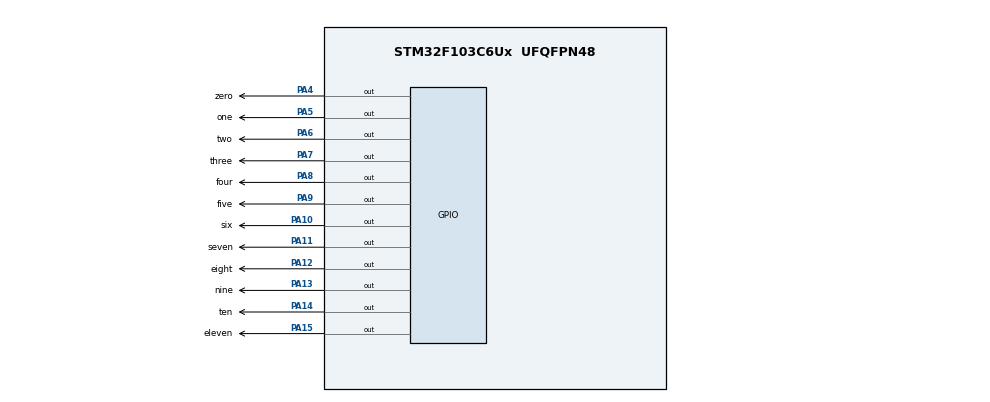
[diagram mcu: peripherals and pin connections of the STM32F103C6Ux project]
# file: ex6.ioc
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Mcu.Family=STM32F1
Mcu.Name=STM32F103C6Ux
Mcu.Package=UFQFPN48
NVIC.PriorityGroup=NVIC_PRIORITYGROUP_4
PA10.GPIO_Label=six
PA10.Signal=GPIO_Output
PA11.GPIO_Label=seven
PA11.Signal=GPIO_Output
PA12.GPIO_Label=eight
PA12.Signal=GPIO_Output
PA13.GPIO_Label=nine
PA13.Signal=GPIO_Output
PA14.GPIO_Label=ten
PA14.Signal=GPIO_Output
PA15.GPIO_Label=eleven
PA15.Signal=GPIO_Output
PA4.GPIO_Label=zero
PA4.Signal=GPIO_Output
PA5.GPIO_Label=one
PA5.Signal=GPIO_Output
PA6.GPIO_Label=two
PA6.Signal=GPIO_Output
PA7.GPIO_Label=three
PA7.Signal=GPIO_Output
PA8.GPIO_Label=four
PA8.Signal=GPIO_Output
PA9.GPIO_Label=five
PA9.Signal=GPIO_Output
ProjectManager.HeapSize=0x200
ProjectManager.StackSize=0x400
ProjectManager.TargetToolchain=STM32CubeIDE
RCC.APB1Freq_Value=8000000
RCC.APB2Freq_Value=8000000
VP_SYS_VS_ND.Mode=No_Debug
board=custom

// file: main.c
/* USER CODE BEGIN Header */
/**
  ******************************************************************************
  * @file           : main.c
  * @brief          : Main program body
  ******************************************************************************
  * @attention
  *
  * <h2><center>&copy; Copyright (c) 2022 STMicroelectronics.
  * All rights reserved.</center></h2>
  *
  * This software component is licensed by ST under BSD 3-Clause license,
  * the "License"; You may not use this file except in compliance with the
  * License. You may obtain a copy of the License at:
  *                        opensource.org/licenses/BSD-3-Clause
  *
  ******************************************************************************
  */
/* USER CODE END Header */
#include "main.h"

void SystemClock_Config(void);
static void MX_GPIO_Init(void);

/* USER CODE BEGIN 0 */
void setNumberOnClock(int num){
	switch (num) {
		case 0:
			HAL_GPIO_WritePin(zero_GPIO_Port, zero_Pin, 0);
			break;
		case 1:
			HAL_GPIO_WritePin(one_GPIO_Port, one_Pin, 0);
			break;
		case 2:
			HAL_GPIO_WritePin(two_GPIO_Port, two_Pin, 0);
			break;
		case 3:
			HAL_GPIO_WritePin(three_GPIO_Port, three_Pin, 0);
			break;
		case 4:
			HAL_GPIO_WritePin(four_GPIO_Port, four_Pin, 0);
			break;
		case 5:
			HAL_GPIO_WritePin(five_GPIO_Port, five_Pin, 0);
			break;
		case 6:
			HAL_GPIO_WritePin(six_GPIO_Port,six_Pin, 0);
			break;
		case 7:
			HAL_GPIO_WritePin(seven_GPIO_Port, seven_Pin, 0);
			break;
		case 8:
			HAL_GPIO_WritePin(eight_GPIO_Port, eight_Pin, 0);
			break;
		case 9:
			HAL_GPIO_WritePin(nine_GPIO_Port, nine_Pin, 0);
			break;
		case 10:
			HAL_GPIO_WritePin(ten_GPIO_Port, ten_Pin, 0);
			break;
		case 11:
			HAL_GPIO_WritePin(eleven_GPIO_Port, eleven_Pin, 0);
			break;
		default:
			break;
	}
}
void clearNumberOnClock(int num){
	switch (num) {
			case 0:
				HAL_GPIO_WritePin(zero_GPIO_Port, zero_Pin, 1);
				break;
			case 1:
				HAL_GPIO_WritePin(one_GPIO_Port, one_Pin, 1);
				break;
			case 2:
				HAL_GPIO_WritePin(two_GPIO_Port, two_Pin, 1);
				break;
			case 3:
				HAL_GPIO_WritePin(three_GPIO_Port, three_Pin, 1);
				break;
			case 4:
				HAL_GPIO_WritePin(four_GPIO_Port, four_Pin, 1);
				break;
			case 5:
				HAL_GPIO_WritePin(five_GPIO_Port, five_Pin, 1);
				break;
			case 6:
				HAL_GPIO_WritePin(six_GPIO_Port,six_Pin, 1);
				break;
			case 7:
				HAL_GPIO_WritePin(seven_GPIO_Port, seven_Pin, 1);
				break;
			case 8:
				HAL_GPIO_WritePin(eight_GPIO_Port, eight_Pin, 1);
				break;
			case 9:
				HAL_GPIO_WritePin(nine_GPIO_Port, nine_Pin, 1);
				break;
			case 10:
				HAL_GPIO_WritePin(ten_GPIO_Port, ten_Pin, 1);
				break;
			case 11:
				HAL_GPIO_WritePin(eleven_GPIO_Port, eleven_Pin, 1);
				break;
			default:
				break;
		}
}
/* USER CODE END 0 */

int main(void)
{

  /* MCU Configuration--------------------------------------------------------*/

  /* Reset of all peripherals, Initializes the Flash interface and the Systick. */
  HAL_Init();

  /* Configure the system clock */
  SystemClock_Config();

  /* Initialize all configured peripherals */
  MX_GPIO_Init();

  /* Infinite loop */
  /* USER CODE BEGIN WHILE */
  int hour = 0;
  int second = 0;
  int minute = 0;
  HAL_GPIO_WritePin(GPIOA, zero_Pin|one_Pin|two_Pin|three_Pin
  	                          |four_Pin|five_Pin|six_Pin|seven_Pin
  	                          |eight_Pin|nine_Pin|ten_Pin|eleven_Pin, 1);
  while (1)
  {
    /* USER CODE END WHILE */

	if (hour == 12){
		hour = 0;
	}
	if (minute == 60){
		minute = 0;
        clearNumberOnClock(hour/12);
		hour++;
		HAL_Delay(500);
	}
	if (second == 60){
    	second = 0;
    	clearNumberOnClock(minute/5);
    	minute+=5;
    	HAL_Delay(500);
    }
    setNumberOnClock(hour/12);
    setNumberOnClock(minute/5);
    setNumberOnClock(second/5);
    HAL_Delay(500);
    clearNumberOnClock(second/5);
    second++;

  }
}

void SystemClock_Config(void)
{
  RCC_OscInitTypeDef RCC_OscInitStruct = {0};
  RCC_ClkInitTypeDef RCC_ClkInitStruct = {0};

  /** Initializes the RCC Oscillators according to the specified parameters
  * in the RCC_OscInitTypeDef structure.
  */
  RCC_OscInitStruct.OscillatorType = RCC_OSCILLATORTYPE_HSI;
  RCC_OscInitStruct.HSIState = RCC_HSI_ON;
  RCC_OscInitStruct.HSICalibrationValue = RCC_HSICALIBRATION_DEFAULT;
  RCC_OscInitStruct.PLL.PLLState = RCC_PLL_NONE;
  if (HAL_RCC_OscConfig(&RCC_OscInitStruct) != HAL_OK)
  {
    Error_Handler();
  }
  /** Initializes the CPU, AHB and APB buses clocks
  */
  RCC_ClkInitStruct.ClockType = RCC_CLOCKTYPE_HCLK|RCC_CLOCKTYPE_SYSCLK
                              |RCC_CLOCKTYPE_PCLK1|RCC_CLOCKTYPE_PCLK2;
  RCC_ClkInitStruct.SYSCLKSource = RCC_SYSCLKSOURCE_HSI;
  RCC_ClkInitStruct.AHBCLKDivider = RCC_SYSCLK_DIV1;
  RCC_ClkInitStruct.APB1CLKDivider = RCC_HCLK_DIV1;
  RCC_ClkInitStruct.APB2CLKDivider = RCC_HCLK_DIV1;

  if (HAL_RCC_ClockConfig(&RCC_ClkInitStruct, FLASH_LATENCY_0) != HAL_OK)
  {
    Error_Handler();
  }
}

static void MX_GPIO_Init(void)
{
  GPIO_InitTypeDef GPIO_InitStruct = {0};

  /* GPIO Ports Clock Enable */
  __HAL_RCC_GPIOA_CLK_ENABLE();

  /*Configure GPIO pin Output Level */
  HAL_GPIO_WritePin(GPIOA, zero_Pin|one_Pin|two_Pin|three_Pin
                          |four_Pin|five_Pin|six_Pin|seven_Pin
                          |eight_Pin|nine_Pin|ten_Pin|eleven_Pin, GPIO_PIN_RESET);

  /*Configure GPIO pins : zero_Pin one_Pin two_Pin three_Pin
                           four_Pin five_Pin six_Pin seven_Pin
                           eight_Pin nine_Pin ten_Pin eleven_Pin */
  GPIO_InitStruct.Pin = zero_Pin|one_Pin|two_Pin|three_Pin
                          |four_Pin|five_Pin|six_Pin|seven_Pin
                          |eight_Pin|nine_Pin|ten_Pin|eleven_Pin;
  GPIO_InitStruct.Mode = GPIO_MODE_OUTPUT_PP;
  GPIO_InitStruct.Pull = GPIO_NOPULL;
  GPIO_InitStruct.Speed = GPIO_SPEED_FREQ_LOW;
  HAL_GPIO_Init(GPIOA, &GPIO_InitStruct);

}

void Error_Handler(void)
{
  __disable_irq();
  while (1)
  {
  }
}

/************************ (C) COPYRIGHT STMicroelectronics *****END OF FILE****/
